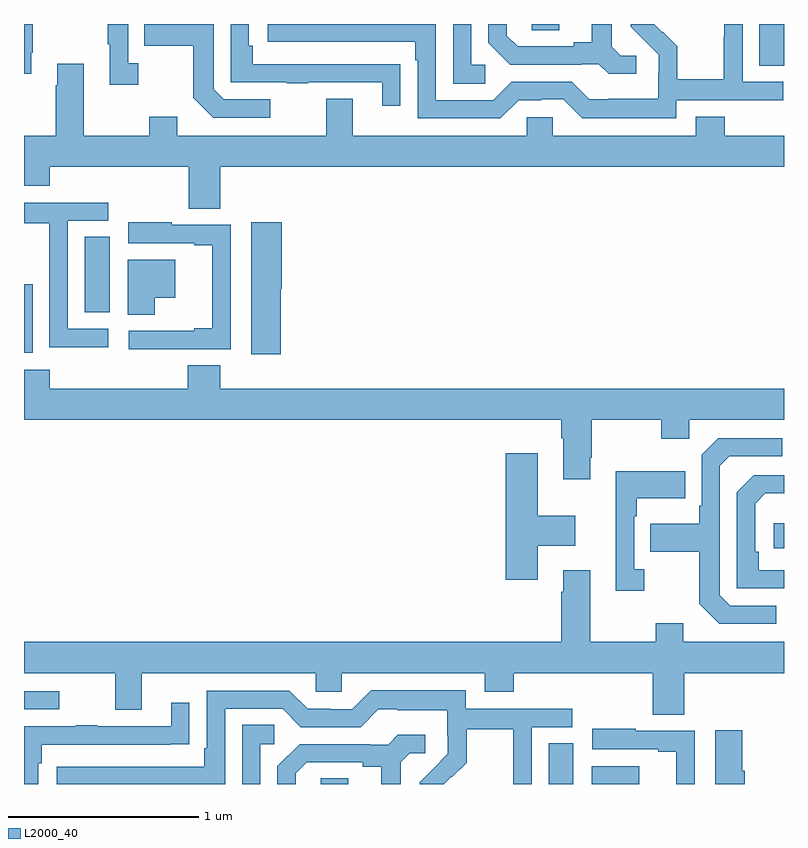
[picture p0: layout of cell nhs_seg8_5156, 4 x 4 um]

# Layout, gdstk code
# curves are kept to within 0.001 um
import gdstk
lib = gdstk.Library(unit=1e-6, precision=1e-09)
def R(c, l, rs):  # rectangles x0, y0, x1, y1
    for r in rs: c.add(gdstk.rectangle(r[:2], r[2:], *l))
def P(c, l, *ps):  # polygons
    for p in ps: c.add(gdstk.Polygon(p, *l))
L2000_40 = (2000, 40)

nhs_seg8_5156 = lib.new_cell('nhs_seg8_5156')
R(nhs_seg8_5156, L2000_40, [(422.562,1131.9,422.707,1131.929), (423.761,1131.9,423.892,1132.115), (423.989,1131.9,424.237,1131.994), (421,1132.293,421.186,1132.389), (424.947,1133.142,425,1133.272), (421,1134.17,421.045,1134.531), (421.319,1134.382,421.45,1134.779), (424.871,1135.681,425,1135.9), (423.672,1135.867,423.817,1135.9)])
P(nhs_seg8_5156, L2000_40, [(421.039,1135.75),(421.047,1135.75),(421.047,1135.9),(421,1135.9),(421,1135.638),(421.039,1135.638)],
  [(424.434,1135.5),(424.996,1135.5),(424.996,1135.596),(424.782,1135.596),(424.782,1135.9),(424.686,1135.9),(424.686,1135.832),(424.684,1135.832),(424.684,1135.609),(424.439,1135.609),(424.439,1135.783),(424.362,1135.86),(424.359,1135.857),(424.317,1135.9),(424.194,1135.9),(424.194,1135.886),(424.34,1135.738),(424.34,1135.641),(424.338,1135.641),(424.338,1135.507),(424.075,1135.507),(424.075,1135.503),(423.975,1135.503),(423.882,1135.596),(423.567,1135.596),(423.471,1135.5),(423.168,1135.5),(423.168,1135.9),(422.283,1135.9),(422.283,1135.806),(423.059,1135.806),(423.059,1135.709),(423.072,1135.709),(423.072,1135.404),(423.507,1135.404),(423.603,1135.5),(423.722,1135.5),(423.722,1135.503),(423.837,1135.503),(423.937,1135.403),(424.434,1135.403)],
  [(422.981,1135.688),(422.879,1135.688),(422.879,1135.689),(422.204,1135.689),(422.204,1135.786),(422.184,1135.786),(422.184,1135.9),(422.088,1135.9),(422.088,1135.593),(422.383,1135.593),(422.383,1135.588),(422.495,1135.588),(422.495,1135.593),(422.885,1135.593),(422.885,1135.47),(422.981,1135.47)],
  [(423.427,1135.686),(423.354,1135.686),(423.354,1135.9),(423.258,1135.9),(423.258,1135.585),(423.427,1135.585)],
  [(424.222,1135.734),(424.14,1135.734),(424.093,1135.781),(424.093,1135.9),(423.989,1135.9),(423.989,1135.805),(423.893,1135.805),(423.893,1135.782),(423.598,1135.782),(423.541,1135.839),(423.541,1135.9),(423.444,1135.9),(423.444,1135.802),(423.56,1135.686),(423.932,1135.686),(423.932,1135.689),(424.026,1135.689),(424.078,1135.637),(424.222,1135.637)],
  [(422.296,1135.503),(422.052,1135.503),(421.998,1135.557),(421.998,1135.9),(421.633,1135.9),(421.633,1135.786),(421.89,1135.786),(421.89,1135.513),(421.995,1135.407),(422.296,1135.407)],
  [(421.6,1135.694),(421.548,1135.694),(421.548,1135.9),(421.44,1135.9),(421.44,1135.793),(421.451,1135.793),(421.451,1135.581),(421.6,1135.581)],
  [(422.033,1135.148),(425,1135.148),(425,1135.312),(424.688,1135.312),(424.688,1135.411),(424.535,1135.411),(424.535,1135.312),(423.783,1135.312),(423.783,1135.41),(423.645,1135.41),(423.645,1135.312),(422.731,1135.312),(422.731,1135.507),(422.591,1135.507),(422.591,1135.312),(421.807,1135.312),(421.807,1135.411),(421.66,1135.411),(421.66,1135.312),(421.315,1135.312),(421.315,1135.69),(421.175,1135.69),(421.175,1135.577),(421.168,1135.577),(421.168,1135.312),(421,1135.312),(421,1135.049),(421.136,1135.049),(421.136,1135.148),(421.867,1135.148),(421.867,1134.928),(422.033,1134.928)],
  [(421.444,1134.297),(421.23,1134.297),(421.23,1134.864),(421.444,1134.864),(421.444,1134.96),(421,1134.96),(421,1134.852),(421.132,1134.852),(421.132,1134.628),(421.134,1134.628),(421.134,1134.199),(421.444,1134.199)],
  [(422.351,1134.507),(422.356,1134.507),(422.356,1134.856),(422.195,1134.856),(422.195,1134.162),(422.351,1134.162)],
  [(421.778,1134.189),(422.088,1134.189),(422.088,1134.843),(421.778,1134.843),(421.778,1134.856),(421.548,1134.856),(421.548,1134.747),(421.895,1134.747),(421.895,1134.735),(421.991,1134.735),(421.991,1134.298),(421.895,1134.298),(421.895,1134.285),(421.551,1134.285),(421.551,1134.188),(421.778,1134.188)],
  [(421.689,1134.458),(421.795,1134.458),(421.795,1134.658),(421.547,1134.658),(421.547,1134.37),(421.689,1134.37)],
  [(423.979,1133.617),(423.987,1133.617),(423.987,1133.816),(424.354,1133.816),(424.354,1133.717),(424.5,1133.717),(424.5,1133.816),(425,1133.816),(425,1133.98),(422.033,1133.98),(422.033,1134.104),(421.862,1134.104),(421.862,1133.98),(421.136,1133.98),(421.136,1134.079),(421,1134.079),(421,1133.816),(423.827,1133.816),(423.827,1133.72),(423.839,1133.72),(423.839,1133.505),(423.979,1133.505)],
  [(424.96,1132.839),(424.716,1132.839),(424.662,1132.893),(424.662,1133.574),(424.713,1133.625),(424.99,1133.625),(424.99,1133.721),(424.653,1133.721),(424.566,1133.634),(424.566,1133.365),(424.554,1133.365),(424.554,1133.269),(424.297,1133.269),(424.297,1133.122),(424.554,1133.122),(424.554,1132.849),(424.659,1132.743),(424.96,1132.743)],
  [(423.703,1133.153),(423.901,1133.153),(423.901,1133.311),(423.703,1133.311),(423.703,1133.641),(423.536,1133.641),(423.536,1132.974),(423.703,1132.974)],
  [(424.264,1133.03),(424.212,1133.03),(424.212,1133.309),(424.225,1133.309),(424.225,1133.405),(424.481,1133.405),(424.481,1133.545),(424.115,1133.545),(424.115,1132.917),(424.264,1132.917)],
  [(425,1133.025),(424.868,1133.025),(424.868,1133.122),(424.848,1133.122),(424.848,1133.376),(424.901,1133.429),(425,1133.429),(425,1133.526),(424.842,1133.526),(424.752,1133.436),(424.752,1132.929),(425,1132.929)],
  [(424.475,1132.484),(425,1132.484),(425,1132.648),(424.471,1132.648),(424.471,1132.747),(424.324,1132.747),(424.324,1132.648),(423.979,1132.648),(423.979,1133.026),(423.839,1133.026),(423.839,1132.913),(423.827,1132.913),(423.827,1132.648),(421,1132.648),(421,1132.484),(421.481,1132.484),(421.481,1132.29),(421.621,1132.29),(421.621,1132.484),(422.535,1132.484),(422.535,1132.386),(422.673,1132.386),(422.673,1132.484),(423.425,1132.484),(423.425,1132.385),(423.578,1132.385),(423.578,1132.484),(424.309,1132.484),(424.309,1132.264),(424.475,1132.264)],
  [(422.058,1132.296),(422.361,1132.296),(422.457,1132.2),(422.772,1132.2),(422.865,1132.293),(422.965,1132.293),(422.965,1132.289),(423.228,1132.289),(423.228,1132.155),(423.23,1132.155),(423.23,1132.058),(423.084,1131.91),(423.084,1131.9),(423.21,1131.9),(423.249,1131.939),(423.252,1131.936),(423.329,1132.013),(423.329,1132.188),(423.574,1132.188),(423.574,1131.964),(423.576,1131.964),(423.576,1131.9),(423.672,1131.9),(423.672,1132.2),(423.886,1132.2),(423.886,1132.296),(423.324,1132.296),(423.324,1132.393),(422.827,1132.393),(422.727,1132.293),(422.612,1132.293),(422.612,1132.296),(422.493,1132.296),(422.397,1132.392),(421.962,1132.392),(421.962,1132.087),(421.949,1132.087),(421.949,1131.99),(421.173,1131.99),(421.173,1131.9),(422.058,1131.9)],
  [(421.074,1132.01),(421.094,1132.01),(421.094,1132.107),(421.769,1132.107),(421.769,1132.108),(421.871,1132.108),(421.871,1132.327),(421.775,1132.327),(421.775,1132.203),(421.385,1132.203),(421.385,1132.208),(421.273,1132.208),(421.273,1132.203),(421,1132.203),(421,1131.9),(421.074,1131.9)],
  [(422.244,1132.11),(422.317,1132.11),(422.317,1132.211),(422.148,1132.211),(422.148,1131.9),(422.244,1131.9)],
  [(424.53,1132.179),(424.22,1132.179),(424.22,1132.192),(423.99,1132.192),(423.99,1132.083),(424.337,1132.083),(424.337,1132.071),(424.433,1132.071),(424.433,1131.9),(424.53,1131.9)],
  [(424.793,1131.97),(424.78,1131.97),(424.78,1132.183),(424.637,1132.183),(424.637,1131.9),(424.793,1131.9)],
  [(422.431,1131.957),(422.488,1132.014),(422.783,1132.014),(422.783,1131.992),(422.879,1131.992),(422.879,1131.9),(422.983,1131.9),(422.983,1132.015),(423.03,1132.062),(423.112,1132.062),(423.112,1132.159),(422.968,1132.159),(422.916,1132.107),(422.822,1132.107),(422.822,1132.11),(422.45,1132.11),(422.334,1131.994),(422.334,1131.9),(422.431,1131.9)])

lib.write_gds('nhs_seg8_5156.gds')
